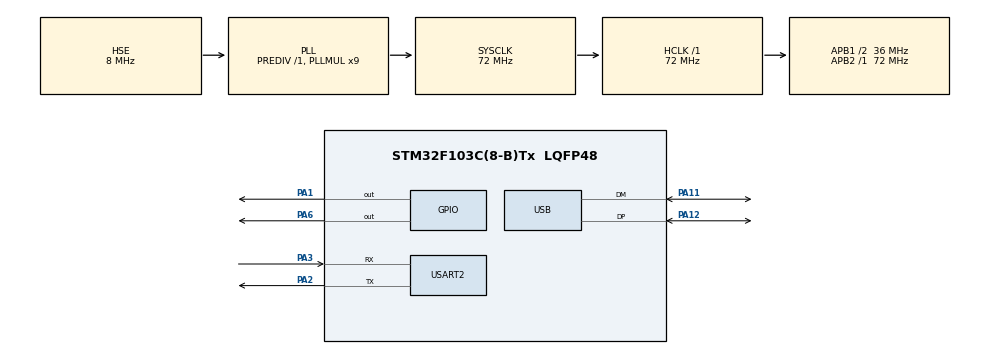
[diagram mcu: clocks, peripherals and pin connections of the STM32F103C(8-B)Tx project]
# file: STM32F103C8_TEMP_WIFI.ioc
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Dma.Request0=USART2_RX
Dma.Request1=USART2_TX
Dma.USART2_RX.0.Direction=DMA_PERIPH_TO_MEMORY
Dma.USART2_RX.0.Instance=DMA1_Channel6
Dma.USART2_RX.0.MemDataAlignment=DMA_MDATAALIGN_BYTE
Dma.USART2_RX.0.MemInc=DMA_MINC_ENABLE
Dma.USART2_RX.0.Mode=DMA_NORMAL
Dma.USART2_RX.0.PeriphDataAlignment=DMA_PDATAALIGN_BYTE
Dma.USART2_RX.0.PeriphInc=DMA_PINC_DISABLE
Dma.USART2_RX.0.Priority=DMA_PRIORITY_LOW
Dma.USART2_TX.1.Direction=DMA_MEMORY_TO_PERIPH
Dma.USART2_TX.1.Instance=DMA1_Channel7
Dma.USART2_TX.1.MemDataAlignment=DMA_MDATAALIGN_BYTE
Dma.USART2_TX.1.MemInc=DMA_MINC_ENABLE
Dma.USART2_TX.1.Mode=DMA_NORMAL
Dma.USART2_TX.1.PeriphDataAlignment=DMA_PDATAALIGN_BYTE
Dma.USART2_TX.1.PeriphInc=DMA_PINC_DISABLE
Dma.USART2_TX.1.Priority=DMA_PRIORITY_LOW
Mcu.Family=STM32F1
Mcu.Name=STM32F103C(8-B)Tx
Mcu.Package=LQFP48
NVIC.DMA1_Channel6_IRQn=true\:0\:0\:false\:false\:true\:false\:true
NVIC.DMA1_Channel7_IRQn=true\:0\:0\:false\:false\:true\:false\:true
NVIC.PriorityGroup=NVIC_PRIORITYGROUP_4
NVIC.USART2_IRQn=true\:0\:0\:false\:false\:true\:true\:true
NVIC.USB_HP_CAN1_TX_IRQn=true\:0\:0\:false\:false\:true\:true\:true
NVIC.USB_LP_CAN1_RX0_IRQn=true\:0\:0\:false\:false\:true\:true\:true
PA1.Signal=GPIO_Output
PA11.Mode=Device
PA11.Signal=USB_DM
PA12.Mode=Device
PA12.Signal=USB_DP
PA13.Mode=Serial_Wire
PA13.Signal=SYS_JTMS-SWDIO
PA14.Mode=Serial_Wire
PA14.Signal=SYS_JTCK-SWCLK
PA2.Mode=Asynchronous
PA2.Signal=USART2_TX
PA3.Mode=Asynchronous
PA3.Signal=USART2_RX
PA6.GPIO_ModeDefaultOutputPP=GPIO_MODE_OUTPUT_OD
PA6.PinState=GPIO_PIN_SET
PA6.Signal=GPIO_Output
PD0-OSC_IN.Mode=HSE-External-Oscillator
PD0-OSC_IN.Signal=RCC_OSC_IN
PD1-OSC_OUT.Mode=HSE-External-Oscillator
PD1-OSC_OUT.Signal=RCC_OSC_OUT
ProjectManager.HeapSize=0x400
ProjectManager.StackSize=0x800
ProjectManager.TargetToolchain=STM32CubeIDE
RCC.AHBFreq_Value=72000000
RCC.APB1CLKDivider=RCC_HCLK_DIV2
RCC.APB1Freq_Value=36000000
RCC.APB1TimFreq_Value=72000000
RCC.APB2Freq_Value=72000000
RCC.APB2TimFreq_Value=72000000
RCC.HCLKFreq_Value=72000000
RCC.PLLMUL=RCC_PLL_MUL9
RCC.PLLSourceVirtual=RCC_PLLSOURCE_HSE
RCC.SYSCLKFreq_VALUE=72000000
RCC.SYSCLKSource=RCC_SYSCLKSOURCE_PLLCLK
RCC.USBFreq_Value=48000000
RCC.USBPrescaler=RCC_USBCLKSOURCE_PLL_DIV1_5
TIM4.Prescaler=71
USART2.VirtualMode=VM_ASYNC
USB_DEVICE.CLASS_NAME_FS=CDC
USB_DEVICE.VirtualMode=Cdc
USB_DEVICE.VirtualModeFS=Cdc_FS
VP_TIM4_VS_ClockSourceINT.Mode=Internal
VP_USB_DEVICE_VS_USB_DEVICE_CDC_FS.Mode=CDC_FS
board=custom

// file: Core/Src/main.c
/* USER CODE BEGIN Header */
/* USER CODE END Header */
#include "main.h"
#include "dma.h"
#include "tim.h"
#include "usart.h"
#include "usb_device.h"
#include "gpio.h"

/* USER CODE BEGIN Includes */
#include "usbd_cdc_if.h"
#include "stm32f1xx_it.h"
#include "ESP8226.h"
#include "DHT22.h"
/* USER CODE END Includes */

/* USER CODE BEGIN PV */
uint8_t sendbuf[] = "Looping...\r\n";
uint8_t startMsg[] = "Stm32F103C8T6 started.\r\n";
uint16_t Temp = 0;
uint16_t Humi = 0;
uint8_t err;

float Tempf;
float Humif;
char TempChar[8]; //存放转换结果
char HumiChar[8]; //存放转换结果
char THMsg[31] = ""; //5+8+2+5+8+2 Temp = xxxx
char THMsg2[30] = "Temp:00000000, Humi:00000000\r\n"; //5+8+2+5+8+2 Temp = xxxx
uint8_t senddata[4];

uint8_t aTxStartMessages[] = "\r\n******UART communication using IT******\r\nPlease enter 10 characters:\r\n";

/* USER CODE END PV */

void SystemClock_Config(void);

int main(void)
{

  /* MCU Configuration--------------------------------------------------------*/

  /* Reset of all peripherals, Initializes the Flash interface and the Systick. */

  /* Configure the system clock */
  SystemClock_Config();

  /* USER CODE BEGIN SysInit */
//  USB_Plug_Init(); // unplug and plug the usb to allow re-detection of MCU
  /* USER CODE END SysInit */

  /* Initialize all configured peripherals */
  MX_GPIO_Init();
  MX_TIM4_Init();
  MX_USB_DEVICE_Init();
  MX_DMA_Init();
  MX_USART2_UART_Init();
  /* USER CODE BEGIN 2 */

//  memset(ESP_RxBuffer,0,sizeof(ESP_RxBuffer));
  HAL_Delay(1000);
  ESP_Init(1);
  ESP_Init_TT();
  HAL_Delay(200);
  DHT22_Init();

//  CDC_Transmit_FS(startMsg,sizeof(startMsg));
  /* USER CODE END 2 */

  /* Infinite loop */
  while (1)
   {

    /* USER CODE BEGIN 3 */

	  HAL_Delay(3000);

 	  HAL_GPIO_TogglePin(GPIOA,GPIO_PIN_1);

 	 err = DHT22_Get_Data(&Temp,&Humi);
 	 Tempf = Temp/10.0f;
 	 Humif = Humif/10.0f;
 	 senddata[0] = (Temp>>8) & 0xff;
 	 senddata[1] = (Temp) & 0xff;
 	 senddata[2] = (Humi>>8) & 0xff;
 	 senddata[3] = (Humi) & 0xff;
 	 ESP_Send_Data_TT(senddata,4); // transparent transmission
// 	 ESP_Send_Data_4Bytes(senddata); // 单次传输

	DHT22_THMsg(Temp,Humi,THMsg);

 	CDC_Transmit_FS((uint8_t*)THMsg,sizeof(THMsg));
 	HAL_Delay(20);
// 	CDC_Transmit_FS((uint8_t*)THMsg2,sizeof(THMsg2));

//	CDC_Transmit_FS((uint8_t*)TempChar,sizeof(TempChar));
//	CDC_Transmit_FS(" ",1);
//	CDC_Transmit_FS((uint8_t*)HumiChar,sizeof(HumiChar));
//	HAL_Delay(20);
//	CDC_Transmit_FS("\r\n",2);
//
// 	  err = DHT22_Get_Data(Temp,Hum);
// 	  HAL_GPIO_WritePin(GPIOA, GPIO_PIN_1, GPIO_PIN_SET);
// 	  CDC_Transmit_FS(sendbuf,sizeof(sendbuf));
// 	 HAL_UART_Transmit_DMA(&huart2 ,(uint8_t*)AT_Test,sizeof(AT_Test)); //test at

   }
  /* USER CODE END 3 */
}

void SystemClock_Config(void)
{
  RCC_OscInitTypeDef RCC_OscInitStruct = {0};
  RCC_ClkInitTypeDef RCC_ClkInitStruct = {0};
  RCC_PeriphCLKInitTypeDef PeriphClkInit = {0};

  /** Initializes the RCC Oscillators according to the specified parameters
  * in the RCC_OscInitTypeDef structure.
  */
  RCC_OscInitStruct.OscillatorType = RCC_OSCILLATORTYPE_HSE;
  RCC_OscInitStruct.HSEState = RCC_HSE_ON;
  RCC_OscInitStruct.HSEPredivValue = RCC_HSE_PREDIV_DIV1;
  RCC_OscInitStruct.HSIState = RCC_HSI_ON;
  RCC_OscInitStruct.PLL.PLLState = RCC_PLL_ON;
  RCC_OscInitStruct.PLL.PLLSource = RCC_PLLSOURCE_HSE;
  RCC_OscInitStruct.PLL.PLLMUL = RCC_PLL_MUL9;
  if (HAL_RCC_OscConfig(&RCC_OscInitStruct) != HAL_OK)
  {
    Error_Handler();
  }
  /** Initializes the CPU, AHB and APB buses clocks
  */
  RCC_ClkInitStruct.ClockType = RCC_CLOCKTYPE_HCLK|RCC_CLOCKTYPE_SYSCLK
                              |RCC_CLOCKTYPE_PCLK1|RCC_CLOCKTYPE_PCLK2;
  RCC_ClkInitStruct.SYSCLKSource = RCC_SYSCLKSOURCE_PLLCLK;
  RCC_ClkInitStruct.AHBCLKDivider = RCC_SYSCLK_DIV1;
  RCC_ClkInitStruct.APB1CLKDivider = RCC_HCLK_DIV2;
  RCC_ClkInitStruct.APB2CLKDivider = RCC_HCLK_DIV1;

  if (HAL_RCC_ClockConfig(&RCC_ClkInitStruct, FLASH_LATENCY_2) != HAL_OK)
  {
    Error_Handler();
  }
  PeriphClkInit.PeriphClockSelection = RCC_PERIPHCLK_USB;
  PeriphClkInit.UsbClockSelection = RCC_USBCLKSOURCE_PLL_DIV1_5;
  if (HAL_RCCEx_PeriphCLKConfig(&PeriphClkInit) != HAL_OK)
  {
    Error_Handler();
  }
}

void Error_Handler(void)
{
}

/************************ (C) COPYRIGHT STMicroelectronics *****END OF FILE****/
